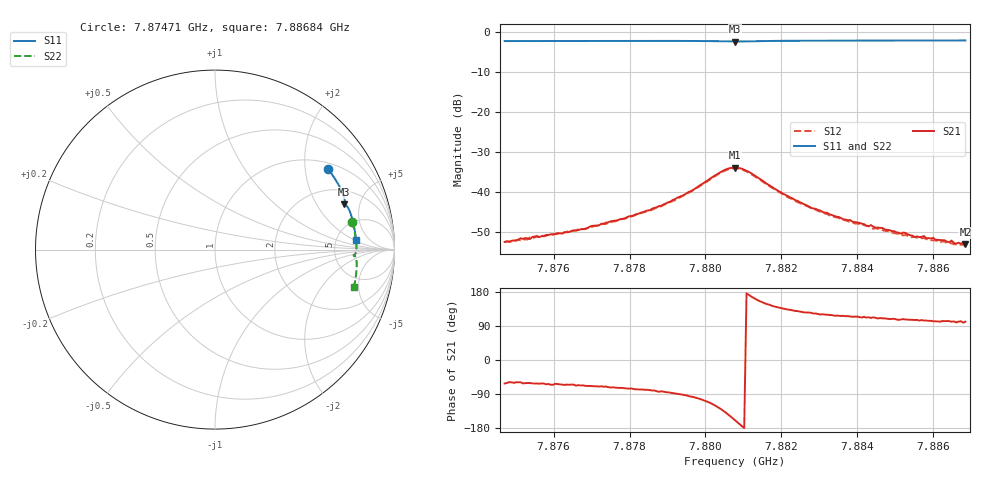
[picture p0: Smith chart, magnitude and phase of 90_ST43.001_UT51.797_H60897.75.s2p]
#  HZ  S  DB  R  50.00
! Rohde & Schwarz Vector Network Analyzer
! Rohde-Schwarz,ZNB20-2Port,1311601062101988,3.16
! Created: UTC 1/12/2023, 6:35:54 PM
! freq[Hz]  db:S11  ang:S11  db:S21  ang:S21  db:S12  ang:S12  db:S22  ang:S22
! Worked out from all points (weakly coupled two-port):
!   201 points, 7.87471 GHz to 7.88684 GHz, reference 50 ohm
!   highest |S21| = -33.93 dB at 7.88078 GHz (marker M1); lowest = -53.2 dB at 7.88684 GHz (marker M2)
!   lowest |S11| = -2.3 dB at 7.88078 GHz (marker M3), VSWR 7.44, Z = 147 + j178 ohm
!   |S11| at or under -10 dB: nowhere
!   |S22| runs from -2.2 to -1.9 dB; largest |S21 - S12| = 0.0013
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7.874712e9  -2.24 35.3  -52.56 -62.0  -52.70 -60.6  -2.16 11.3
7.876774e9  -2.20 29.7  -49.36 -66.8  -49.33 -72.2  -2.10 6.4
7.877866e9  -2.19 26.7  -46.69 -74.5  -46.79 -77.5  -2.08 3.8
7.878776e9  -2.18 24.2  -43.57 -83.7  -43.76 -85.5  -2.06 1.7
7.879625e9  -2.20 21.7  -39.81 -96.5  -39.90 -99.7  -2.08 -0.4
7.880474e9  -2.32 19.6  -34.66 -134.2  -34.87 -137.5  -2.20 -2.3
7.880777e9  -2.35 19.3  -33.93 -159.0  -34.10 -162.7  -2.24 -2.4
7.881141e9  -2.29 19.0  -35.01 172.1  -35.21 168.5  -2.18 -2.5
7.882172e9  -2.16 16.2  -41.12 132.9  -41.43 130.0  -2.03 -4.8
7.88284e9  -2.14 14.3  -44.18 122.7  -44.25 120.2  -2.00 -6.4
7.883931e9  -2.11 11.4  -47.59 114.2  -47.97 110.5  -1.97 -8.9
7.884841e9  -2.10 9.0  -49.59 108.1  -49.93 105.1  -1.95 -10.9
7.885266e9  -2.09 7.9  -50.34 107.0  -50.81 103.4  -1.94 -11.8
7.885508e9  -2.09 7.3  -51.36 105.6  -51.31 103.1  -1.94 -12.3
7.885751e9  -2.09 6.6  -51.08 104.1  -51.59 103.1  -1.94 -12.9
7.885812e9  -2.09 6.5  -51.63 104.1  -51.89 99.7  -1.94 -13.0
7.885994e9  -2.08 6.0  -51.53 102.3  -52.19 100.1  -1.94 -13.4
7.886418e9  -2.08 4.9  -52.65 102.6  -52.90 97.0  -1.93 -14.3
7.886479e9  -2.08 4.7  -52.23 101.1  -52.92 98.7  -1.93 -14.5
7.886539e9  -2.08 4.6  -52.83 101.8  -53.16 99.3  -1.93 -14.6
7.886782e9  -2.08 3.9  -52.75 98.5  -53.26 98.5  -1.93 -15.1
7.886843e9  -2.08 3.8  -53.21 101.0  -53.63 97.6  -1.93 -15.2
